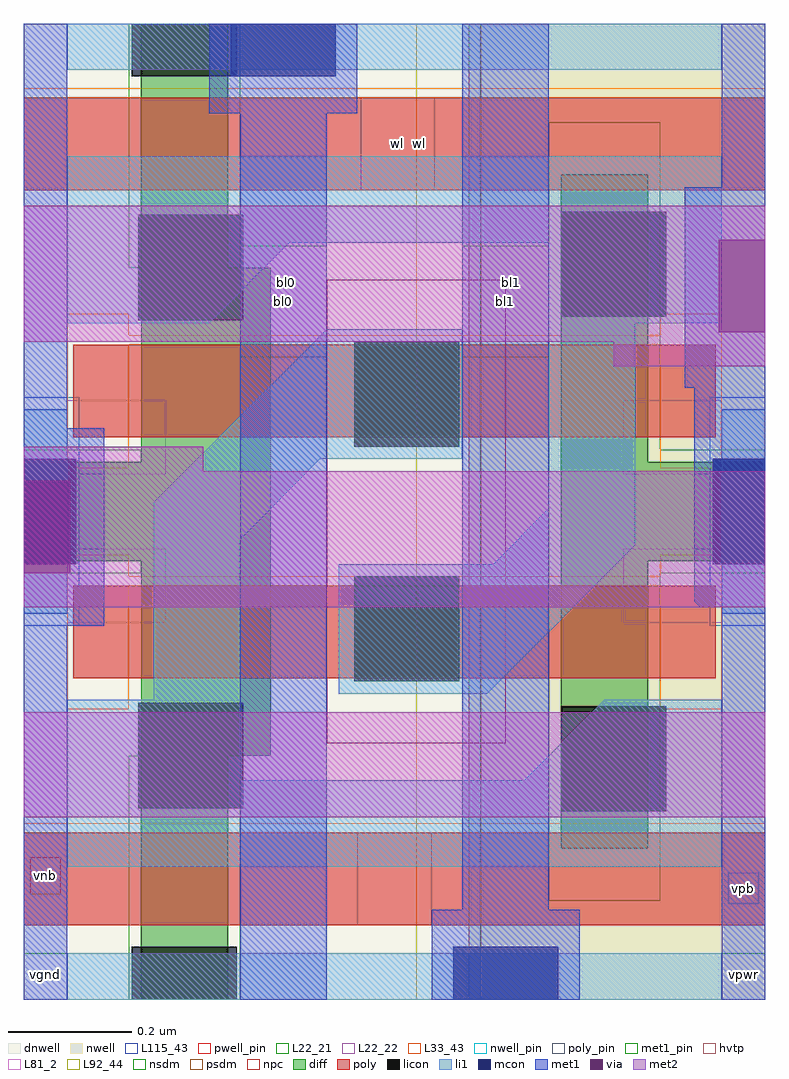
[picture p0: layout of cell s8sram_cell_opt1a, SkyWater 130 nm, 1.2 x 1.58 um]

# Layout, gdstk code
import gdstk
lib = gdstk.Library(unit=1e-6, precision=1e-09)
def R(c, l, rs):  # rectangles x0, y0, x1, y1
    for r in rs: c.add(gdstk.rectangle(r[:2], r[2:], *l))
def P(c, l, *ps):  # polygons
    for p in ps: c.add(gdstk.Polygon(p, *l))
L22_21 = (22, 21)
L22_22 = (22, 22)
L33_43 = (33, 43)
nwell_pin = (64, 16)
dnwell = (64, 18)
nwell = (64, 20)
diff = (65, 20)
poly_pin = (66, 16)
poly = (66, 20)
licon = (66, 44)
li1 = (67, 20)
mcon = (67, 44)
met1_pin = (68, 16)
met1 = (68, 20)
via = (68, 44)
met2 = (69, 20)
hvtp = (78, 44)
L81_2 = (81, 2)
L92_44 = (92, 44)
nsdm = (93, 44)
psdm = (94, 20)
npc = (95, 20)
L115_43 = (115, 43)
pwell_pin = (122, 16)

s8sram_cell_met2 = lib.new_cell('s8sram_cell_met2')
R(s8sram_cell_met2, met2, [(0,0.295,1.2,0.465)])
P(s8sram_cell_met2, met2, [(0,0.635),(0,0.895),(0.29,0.895),(0.29,0.855),(1.2,0.855),(1.2,0.635)],
  [(0.955,1.025),(0.955,1.065),(0,1.065),(0,1.285),(1.2,1.285),(1.2,1.025)])

s8sram_cell_fom_serif_pm = lib.new_cell('s8sram_cell_fom_serif_pmos')
R(s8sram_cell_fom_serif_pm, L22_22, [(0,0,0.16,0.12)])

s8sram_cell_fom_serif_nm = lib.new_cell('s8sram_cell_fom_serif_nmos')
R(s8sram_cell_fom_serif_nm, L22_22, [(0,0,0.16,0.12)])

s8sram_cell_fom_serifs = lib.new_cell('s8sram_cell_fom_serifs')
s8sram_cell_fom_serifs.add(gdstk.Reference(s8sram_cell_fom_serif_pm, (0.97,0)))
s8sram_cell_fom_serifs.add(gdstk.Reference(s8sram_cell_fom_serif_pm, (0.97,0.24)))
s8sram_cell_fom_serifs.add(gdstk.Reference(s8sram_cell_fom_serif_nm, (0.07,0.24)))
s8sram_cell_fom_serifs.add(gdstk.Reference(s8sram_cell_fom_serif_nm, (0.07,0)))

s8sram_cell = lib.new_cell('s8sram_cell')
R(s8sram_cell, L22_21, [(0.17,0,0.19,0.395), (0.33,0,0.35,0.395), (0,0.69,0.19,0.71), (0,0.87,0.19,0.89), (0.17,1.185,0.19,1.58), (0.33,1.185,0.35,1.58)])
P(s8sram_cell, L22_21, [(0.85,0.16),(0.85,1.42),(1.03,1.42),(1.03,0.89),(1.2,0.89),(1.2,0.87),(1.01,0.87),(1.01,1.335),(0.87,1.335),(0.87,0.245),(1.01,0.245),(1.01,0.71),(1.2,0.71),(1.2,0.69),(1.03,0.69),(1.03,0.16)])
R(s8sram_cell, nwell, [(0.72,0,1.2,1.58)])
P(s8sram_cell, diff, [(0.87,0.245),(0.87,1.335),(1.01,1.335),(1.01,0.87),(1.2,0.87),(1.2,0.71),(1.01,0.71),(1.01,0.245)],
  [(0.19,0),(0.19,0.71),(0,0.71),(0,0.87),(0.19,0.87),(0.19,1.58),(0.33,1.58),(0.33,1.185),(0.4,1.185),(0.4,0.395),(0.33,0.395),(0.33,0)])
R(s8sram_cell, poly, [(0.08,0.12,1.2,0.27), (0.08,0.52,1.12,0.67), (0.08,0.91,1.12,1.06), (0.08,1.31,1.2,1.46)])
R(s8sram_cell, licon, [(0.175,0,0.345,0.085), (0.87,0.305,1.04,0.475), (0.185,0.31,0.355,0.48), (0.535,0.515,0.705,0.685), (0,0.705,0.085,0.875), (1.115,0.705,1.2,0.875), (0.535,0.895,0.705,1.065), (0.185,1.1,0.355,1.27), (0.87,1.105,1.04,1.275), (0.175,1.495,0.345,1.58)])
R(s8sram_cell, li1, [(0.07,0,1.13,0.075), (0,0.625,0.07,0.955), (1.13,0.625,1.2,0.955), (0.07,1.505,1.13,1.58)])
P(s8sram_cell, li1, [(0.07,0.215),(0.07,0.485),(0.21,0.485),(0.21,0.805),(0.49,1.085),(0.71,1.085),(0.71,0.875),(0.48,0.875),(0.35,0.745),(0.35,0.355),(0.81,0.355),(0.94,0.485),(1.13,0.485),(1.13,0.215)],
  [(0.51,0.495),(0.51,0.705),(0.76,0.705),(0.85,0.795),(0.85,1.225),(0.43,1.225),(0.3,1.095),(0.07,1.095),(0.07,1.365),(1.13,1.365),(1.13,1.095),(0.99,1.095),(0.99,0.735),(0.75,0.495)])
R(s8sram_cell, mcon, [(1.115,0.705,1.2,0.875)])
R(s8sram_cell, hvtp, [(0.72,0,1.2,1.58)])
R(s8sram_cell, L81_2, [(0,0,1.2,1.58)])
R(s8sram_cell, L92_44, [(0.635,0,1.2,1.58)])
R(s8sram_cell, nsdm, [(0,0,0.74,1.58)])
R(s8sram_cell, psdm, [(0.74,0,1.2,1.58)])
R(s8sram_cell, npc, [(0.49,0.415,0.78,1.165)])
P(s8sram_cell, L115_43, [(1.11,0.605),(1.11,0.975),(1.2,0.975),(1.2,0.955),(1.13,0.955),(1.13,0.625),(1.2,0.625),(1.2,0.605)],
  [(0,0.605),(0,0.625),(0.07,0.625),(0.07,0.955),(0,0.955),(0,0.975),(0.09,0.975),(0.09,0.605)])
s8sram_cell.add(gdstk.Reference(s8sram_cell_fom_serifs, (0,0.61)))
s8sram_cell.add(gdstk.Label('npass', (0.3,0.21), layer=66, texttype=83))
s8sram_cell.add(gdstk.Label('npd', (0.295,0.61), layer=66, texttype=83))
s8sram_cell.add(gdstk.Label('npd', (0.295,1), layer=66, texttype=83))
s8sram_cell.add(gdstk.Label('npass', (0.3,1.41), layer=66, texttype=83))
s8sram_cell.add(gdstk.Label('ppu', (0.93,1.01), layer=66, texttype=83))
s8sram_cell.add(gdstk.Label('ppu', (0.945,0.625), layer=66, texttype=83))
s8sram_cell.add(gdstk.Label('ppu', (0.94,1.33), layer=66, texttype=83))
s8sram_cell.add(gdstk.Label('ppu', (0.94,0.26), layer=66, texttype=83))

s8sram_cell_addpoly = lib.new_cell('s8sram_cell_addpoly')
R(s8sram_cell_addpoly, poly, [(0,0.12,0.08,0.27), (0,1.31,0.08,1.46)])

s8sram_cell_metopt1 = lib.new_cell('s8sram_cell_metopt1')
R(s8sram_cell_metopt1, mcon, [(0.695,0,0.865,0.085), (0,0.705,0.085,0.875), (1.115,0.705,1.2,0.875), (0.335,1.495,0.505,1.58)])
P(s8sram_cell_metopt1, met1, [(1.13,0),(1.13,0.635),(1.095,0.635),(1.085,0.645),(1.085,0.99),(1.07,0.99),(1.07,1.315),(1.13,1.315),(1.13,1.58),(1.2,1.58),(1.2,0)],
  [(0.66,0),(0.66,0.145),(0.71,0.145),(0.71,1.58),(0.85,1.58),(0.85,0.145),(0.9,0.145),(0.9,0)],
  [(0.35,0),(0.35,1.435),(0.3,1.435),(0.3,1.58),(0.54,1.58),(0.54,1.435),(0.49,1.435),(0.49,0)],
  [(0,0),(0,1.58),(0.07,1.58),(0.07,0.925),(0.13,0.925),(0.13,0.605),(0.07,0.605),(0.07,0)])

s8sram_cell_opt1_ce = lib.new_cell('s8sram_cell_opt1_ce')
R(s8sram_cell_opt1_ce, dnwell, [(0,0,1.2,1.58)])
s8sram_cell_opt1_ce.add(gdstk.Reference(s8sram_cell, (0,0)))
s8sram_cell_opt1_ce.add(gdstk.Reference(s8sram_cell_addpoly, (0,0)))
s8sram_cell_opt1_ce.add(gdstk.Reference(s8sram_cell_metopt1, (0,0)))

s8sram_cell_via = lib.new_cell('s8sram_cell_via')
R(s8sram_cell_via, via, [(0,0.69,0.075,0.84), (1.125,1.08,1.2,1.23)])

s8sram_cell_addpoly_sizi = lib.new_cell('s8sram_cell_addpoly_sizing')
R(s8sram_cell_addpoly_sizi, L33_43, [(0,0.105,0.08,0.12), (0,1.295,0.08,1.31)])

s8sram_cell_p1_serif = lib.new_cell('s8sram_cell_p1_serif')
R(s8sram_cell_p1_serif, L33_43, [(-0.01,-0.125,0.09,0.125)])

s8sram_cell_p1_serifs = lib.new_cell('s8sram_cell_p1_serifs')
s8sram_cell_p1_serifs.add(gdstk.Reference(s8sram_cell_p1_serif, (0.97,0.515)))
s8sram_cell_p1_serifs.add(gdstk.Reference(s8sram_cell_p1_serif, (0.97,0.125)))
s8sram_cell_p1_serifs.add(gdstk.Reference(s8sram_cell_p1_serif, (0.01,0.515)))
s8sram_cell_p1_serifs.add(gdstk.Reference(s8sram_cell_p1_serif, (0.01,0.125)))

s8sram_cell_p1m_sizing = lib.new_cell('s8sram_cell_p1m_sizing')
R(s8sram_cell_p1m_sizing, L33_43, [(0.08,0.105,1.2,0.12), (0.07,0.505,1.13,0.52), (0.07,0.895,1.13,0.91), (0.08,1.295,1.2,1.31)])
s8sram_cell_p1m_sizing.add(gdstk.Reference(s8sram_cell_p1_serifs, (0.07,0.47)))

s8sram_cell_opt1a = lib.new_cell('s8sram_cell_opt1a')
R(s8sram_cell_opt1a, nwell_pin, [(1.14,0.155,1.19,0.205)])
R(s8sram_cell_opt1a, poly_pin, [(0.54,0.12,0.66,0.27), (0.545,1.31,0.665,1.46)])
R(s8sram_cell_opt1a, poly, [(0.08,1.31,1.2,1.46)])
R(s8sram_cell_opt1a, met1_pin, [(0,0,0.07,0.075), (1.13,0,1.2,0.075), (0.35,1.04,0.49,1.22), (0.71,1.04,0.85,1.22)])
R(s8sram_cell_opt1a, met1, [(0,0,0.07,0.075), (1.13,0,1.2,0.075), (0.35,1.04,0.49,1.22), (0.71,1.04,0.85,1.22)])
R(s8sram_cell_opt1a, pwell_pin, [(0.01,0.17,0.06,0.23)])
s8sram_cell_opt1a.add(gdstk.Reference(s8sram_cell_met2, (0,0)))
s8sram_cell_opt1a.add(gdstk.Reference(s8sram_cell_opt1_ce, (0,0)))
s8sram_cell_opt1a.add(gdstk.Reference(s8sram_cell_via, (0,0)))
s8sram_cell_opt1a.add(gdstk.Reference(s8sram_cell_addpoly_sizi, (0,1.58), x_reflection=True))
s8sram_cell_opt1a.add(gdstk.Reference(s8sram_cell_p1m_sizing, (0,1.58), x_reflection=True))
s8sram_cell_opt1a.add(gdstk.Label('bl0', (0.425,1.16), layer=68, texttype=5))
s8sram_cell_opt1a.add(gdstk.Label('bl1', (0.79,1.16), layer=68, texttype=5))
s8sram_cell_opt1a.add(gdstk.Label('vgnd', (0.035,0.04), layer=68, texttype=5))
s8sram_cell_opt1a.add(gdstk.Label('vpwr', (1.165,0.04), layer=68, texttype=5))
s8sram_cell_opt1a.add(gdstk.Label('vpb', (1.165,0.18), layer=64, texttype=5))
s8sram_cell_opt1a.add(gdstk.Label('wl', (0.605,1.385), layer=66, texttype=5))
s8sram_cell_opt1a.add(gdstk.Label('vnb', (0.035,0.2), layer=64, texttype=59))
s8sram_cell_opt1a.add(gdstk.Label('bl0', (0.42,1.13), layer=68, texttype=16))
s8sram_cell_opt1a.add(gdstk.Label('bl1', (0.78,1.13), layer=68, texttype=16))
s8sram_cell_opt1a.add(gdstk.Label('wl', (0.64,1.385), layer=66, texttype=16))
s8sram_cell_opt1a.add(gdstk.Label('vpwr', (1.165,0.038), layer=68, texttype=16))
s8sram_cell_opt1a.add(gdstk.Label('vgnd', (0.035,0.038), layer=68, texttype=16))

lib.write_gds('s8sram_cell_opt1a.gds')
